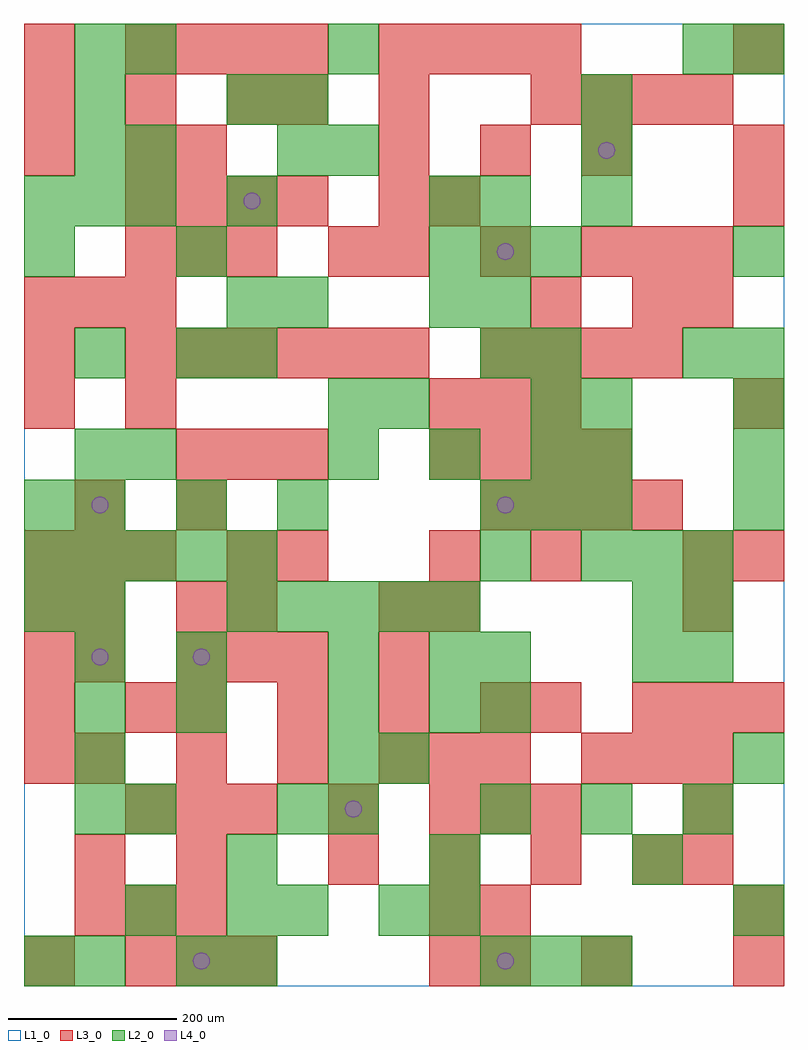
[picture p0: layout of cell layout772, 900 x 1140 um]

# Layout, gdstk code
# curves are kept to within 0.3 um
import gdstk
lib = gdstk.Library(unit=1e-6, precision=1e-09)
def R(c, l, rs):  # rectangles x0, y0, x1, y1
    for r in rs: c.add(gdstk.rectangle(r[:2], r[2:], *l))
def A(c, l, x, y, w, h, nx, ny, dx, dy):  # array of equal rectangles
    R(c, l, [(x+i*dx, y+j*dy, x+i*dx+w, y+j*dy+h) for i in range(nx) for j in range(ny)])
def P(c, l, *ps):  # polygons
    for p in ps: c.add(gdstk.Polygon(p, *l))
L1_0 = (1, 0)
L2_0 = (2, 0)
L3_0 = (3, 0)
L4_0 = (4, 0)

layout772 = lib.new_cell('layout772')
R(layout772, L1_0, [(0,0,900,1140)])
A(layout772, L2_0, 540, 0, 60, 60, 3, 2, 60, 540)
A(layout772, L2_0, 240, 120, 60, 60, 3, 1, 240, 0)
A(layout772, L2_0, 60, 180, 60, 60, 1, 5, 0, 60)
A(layout772, L2_0, 360, 180, 60, 60, 1, 4, 0, 60)
A(layout772, L2_0, 540, 180, 60, 60, 3, 1, 120, 0)
A(layout772, L2_0, 240, 420, 60, 60, 5, 1, 60, 0)
A(layout772, L2_0, 0, 480, 60, 60, 5, 1, 60, 0)
A(layout772, L2_0, 660, 480, 60, 60, 3, 1, 60, 0)
A(layout772, L2_0, 60, 540, 60, 60, 3, 1, 120, 0)
A(layout772, L2_0, 840, 540, 60, 60, 1, 4, 0, 60)
A(layout772, L2_0, 360, 600, 60, 60, 3, 1, 120, 0)
A(layout772, L2_0, 240, 780, 60, 60, 1, 3, 0, 120)
A(layout772, L2_0, 480, 840, 60, 60, 3, 1, 60, 0)
A(layout772, L2_0, 0, 900, 60, 60, 3, 1, 60, 0)
A(layout772, L2_0, 660, 900, 60, 60, 1, 3, 0, 60)
A(layout772, L2_0, 60, 960, 60, 60, 1, 3, 0, 60)
R(layout772, L2_0, [(0,0,60,60), (60,0,120,60), (180,0,240,60), (240,0,300,60), (120,60,180,120), (240,60,300,120), (300,60,360,120), (420,60,480,120), (480,60,540,120), (840,60,900,120), (120,180,180,240), (300,180,360,240), (420,240,480,300), (840,240,900,300), (180,300,240,360), (480,300,540,360), (540,300,600,360), (180,360,240,420), (480,360,540,420), (540,360,600,420), (720,360,780,420), (780,360,840,420), (0,420,60,480), (720,420,780,480), (780,420,840,480), (540,480,600,540), (0,540,60,600), (60,600,120,660), (120,600,180,660), (660,600,720,660), (360,660,420,720), (420,660,480,720), (600,660,660,720), (660,660,720,720), (60,720,120,780), (180,720,240,780), (240,720,300,780), (540,720,600,780), (600,720,660,780), (780,720,840,780), (300,780,360,840), (480,780,540,840), (540,780,600,840), (0,840,60,900), (180,840,240,900), (840,840,900,900), (480,900,540,960), (540,900,600,960), (120,960,180,1020), (300,960,360,1020), (360,960,420,1020), (300,1020,360,1080), (120,1080,180,1140), (360,1080,420,1140), (780,1080,840,1140), (840,1080,900,1140)])
A(layout772, L3_0, 120, 0, 60, 60, 3, 2, 60, 180)
A(layout772, L3_0, 60, 60, 60, 60, 3, 1, 60, 0)
A(layout772, L3_0, 480, 60, 60, 60, 1, 3, 0, 180)
A(layout772, L3_0, 360, 120, 60, 60, 4, 1, 120, 0)
A(layout772, L3_0, 480, 180, 60, 60, 3, 2, 60, 480)
A(layout772, L3_0, 0, 240, 60, 60, 1, 4, 0, 60)
A(layout772, L3_0, 60, 240, 60, 60, 4, 1, 120, 0)
A(layout772, L3_0, 660, 240, 60, 60, 3, 1, 60, 0)
A(layout772, L3_0, 180, 300, 60, 60, 4, 1, 120, 0)
A(layout772, L3_0, 720, 300, 60, 60, 3, 1, 60, 0)
A(layout772, L3_0, 180, 360, 60, 60, 3, 2, 60, 240)
A(layout772, L3_0, 0, 480, 60, 60, 3, 2, 60, 300)
A(layout772, L3_0, 540, 540, 60, 60, 4, 2, 60, 180)
A(layout772, L3_0, 480, 600, 60, 60, 4, 1, 60, 0)
A(layout772, L3_0, 120, 720, 60, 60, 6, 1, 60, 0)
A(layout772, L3_0, 120, 840, 60, 60, 3, 1, 60, 0)
A(layout772, L3_0, 420, 840, 60, 60, 3, 2, 120, 120)
A(layout772, L3_0, 120, 900, 60, 60, 4, 2, 60, 180)
A(layout772, L3_0, 0, 1020, 60, 60, 3, 1, 120, 0)
A(layout772, L3_0, 600, 1020, 60, 60, 4, 1, 60, 0)
A(layout772, L3_0, 420, 1080, 60, 60, 4, 1, 60, 0)
R(layout772, L3_0, [(0,0,60,60), (480,0,540,60), (540,0,600,60), (660,0,720,60), (840,0,900,60), (540,60,600,120), (840,60,900,120), (60,120,120,180), (180,120,240,180), (780,120,840,180), (360,180,420,240), (780,180,840,240), (540,240,600,300), (120,300,180,360), (600,300,660,360), (60,360,120,420), (420,360,480,420), (60,420,120,480), (180,420,240,480), (240,420,300,480), (420,420,480,480), (780,420,840,480), (240,480,300,540), (300,480,360,540), (480,480,540,540), (600,480,660,540), (780,480,840,540), (840,480,900,540), (60,540,120,600), (180,540,240,600), (0,660,60,720), (120,660,180,720), (840,660,900,720), (0,720,60,780), (600,780,660,840), (720,780,780,840), (780,780,840,840), (360,840,420,900), (720,840,780,900), (780,840,840,900), (420,900,480,960), (480,900,540,960), (840,900,900,960), (0,960,60,1020), (120,960,180,1020), (180,960,240,1020), (840,960,900,1020), (300,1020,360,1080), (420,1020,480,1080), (0,1080,60,1140), (840,1080,900,1140)])
P(layout772, L4_0, [(100,390),(99.239,393.827),(97.071,397.071),(93.827,399.239),(90,400),(86.173,399.239),(82.929,397.071),(80.761,393.827),(80,390),(80.761,386.173),(82.929,382.929),(86.173,380.761),(90,380),(93.827,380.761),(97.071,382.929),(99.239,386.173)],
  [(100,570),(99.239,573.827),(97.071,577.071),(93.827,579.239),(90,580),(86.173,579.239),(82.929,577.071),(80.761,573.827),(80,570),(80.761,566.173),(82.929,562.929),(86.173,560.761),(90,560),(93.827,560.761),(97.071,562.929),(99.239,566.173)],
  [(220,30),(219.239,33.827),(217.071,37.071),(213.827,39.239),(210,40),(206.173,39.239),(202.929,37.071),(200.761,33.827),(200,30),(200.761,26.173),(202.929,22.929),(206.173,20.761),(210,20),(213.827,20.761),(217.071,22.929),(219.239,26.173)],
  [(220,390),(219.239,393.827),(217.071,397.071),(213.827,399.239),(210,400),(206.173,399.239),(202.929,397.071),(200.761,393.827),(200,390),(200.761,386.173),(202.929,382.929),(206.173,380.761),(210,380),(213.827,380.761),(217.071,382.929),(219.239,386.173)],
  [(280,930),(279.239,933.827),(277.071,937.071),(273.827,939.239),(270,940),(266.173,939.239),(262.929,937.071),(260.761,933.827),(260,930),(260.761,926.173),(262.929,922.929),(266.173,920.761),(270,920),(273.827,920.761),(277.071,922.929),(279.239,926.173)],
  [(400,210),(399.239,213.827),(397.071,217.071),(393.827,219.239),(390,220),(386.173,219.239),(382.929,217.071),(380.761,213.827),(380,210),(380.761,206.173),(382.929,202.929),(386.173,200.761),(390,200),(393.827,200.761),(397.071,202.929),(399.239,206.173)],
  [(580,30),(579.239,33.827),(577.071,37.071),(573.827,39.239),(570,40),(566.173,39.239),(562.929,37.071),(560.761,33.827),(560,30),(560.761,26.173),(562.929,22.929),(566.173,20.761),(570,20),(573.827,20.761),(577.071,22.929),(579.239,26.173)],
  [(580,570),(579.239,573.827),(577.071,577.071),(573.827,579.239),(570,580),(566.173,579.239),(562.929,577.071),(560.761,573.827),(560,570),(560.761,566.173),(562.929,562.929),(566.173,560.761),(570,560),(573.827,560.761),(577.071,562.929),(579.239,566.173)],
  [(580,870),(579.239,873.827),(577.071,877.071),(573.827,879.239),(570,880),(566.173,879.239),(562.929,877.071),(560.761,873.827),(560,870),(560.761,866.173),(562.929,862.929),(566.173,860.761),(570,860),(573.827,860.761),(577.071,862.929),(579.239,866.173)],
  [(700,990),(699.239,993.827),(697.071,997.071),(693.827,999.239),(690,1000),(686.173,999.239),(682.929,997.071),(680.761,993.827),(680,990),(680.761,986.173),(682.929,982.929),(686.173,980.761),(690,980),(693.827,980.761),(697.071,982.929),(699.239,986.173)])

lib.write_gds('layout772.gds')
